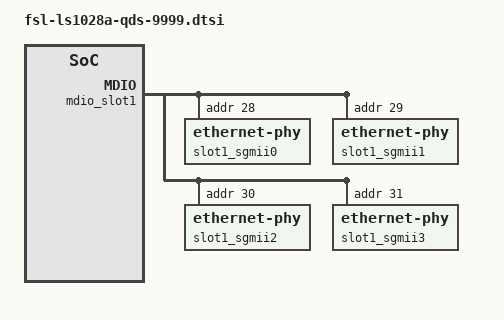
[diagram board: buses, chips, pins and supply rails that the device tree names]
// SPDX-License-Identifier: (GPL-2.0+ OR MIT)
/*
 * Device Tree Include file for LS1028A QDS board, serdes 9999
 *
 * Copyright 2019 NXP
 *
 */

&mdio_slot1 {
	/* VSC8234 */
	slot1_sgmii0: ethernet-phy@1c {
		reg = <0x1c>;
	};

	slot1_sgmii1: ethernet-phy@1d {
		reg = <0x1d>;
	};

	slot1_sgmii2: ethernet-phy@1e {
		reg = <0x1e>;
	};

	slot1_sgmii3: ethernet-phy@1f {
		reg = <0x1f>;
	};
};

/* l2switch ports */
&mscc_felix_ports {
	port@0 {
		status = "okay";
		phy-handle = <&slot1_sgmii0>;
		phy-mode = "sgmii";
		managed = "in-band-status";
	};

	port@1 {
		status = "okay";
		phy-handle = <&slot1_sgmii1>;
		phy-mode = "sgmii";
		managed = "in-band-status";
	};

	port@2 {
		status = "okay";
		phy-handle = <&slot1_sgmii2>;
		phy-mode = "sgmii";
		managed = "in-band-status";
	};

	port@3 {
		status = "okay";
		phy-handle = <&slot1_sgmii3>;
		phy-mode = "sgmii";
		managed = "in-band-status";
	};
};
